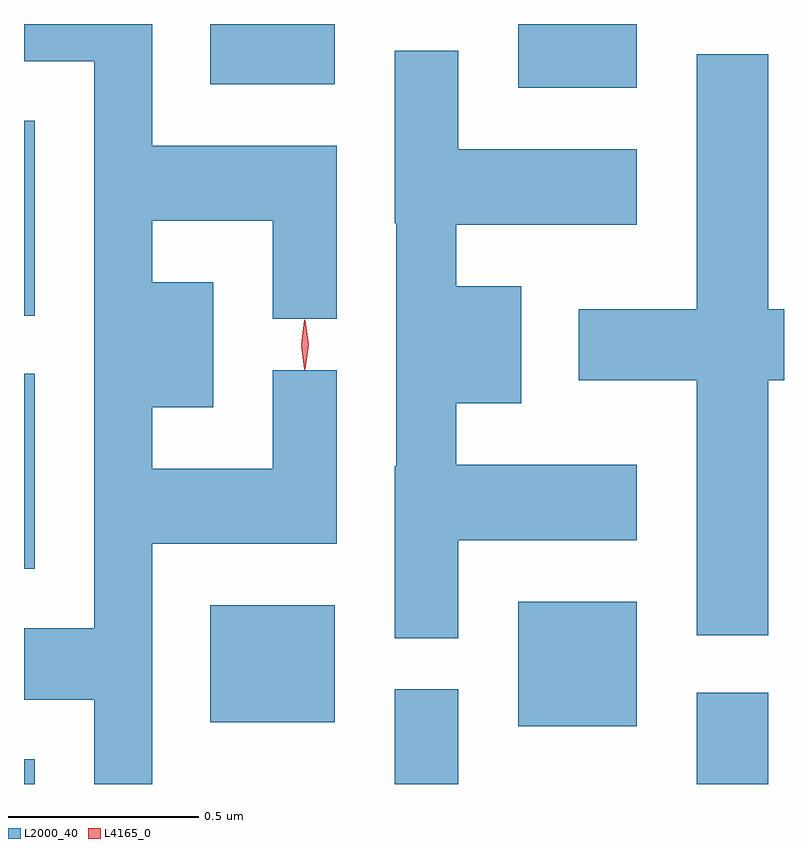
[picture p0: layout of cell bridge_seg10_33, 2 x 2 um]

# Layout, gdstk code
import gdstk
lib = gdstk.Library(unit=1e-6, precision=1e-09)
def R(c, l, rs):  # rectangles x0, y0, x1, y1
    for r in rs: c.add(gdstk.rectangle(r[:2], r[2:], *l))
def P(c, l, *ps):  # polygons
    for p in ps: c.add(gdstk.Polygon(p, *l))
L2000_40 = (2000, 40)
L4165_0 = (4165, 0)

bridge_seg10_33 = lib.new_cell('bridge_seg10_33')
R(bridge_seg10_33, L2000_40, [(1749.396,2156.254,1749.424,2156.319), (1750.371,2156.254,1750.539,2156.503), (1751.166,2156.254,1751.354,2156.494), (1750.696,2156.406,1751.009,2156.734), (1749.886,2156.416,1750.214,2156.724), (1749.396,2156.821,1749.424,2157.334), (1749.396,2157.486,1749.424,2157.999), (1750.696,2158.086,1751.009,2158.254), (1749.886,2158.096,1750.214,2158.254)])
P(bridge_seg10_33, L2000_40, [(1749.734,2156.886),(1750.219,2156.886),(1750.219,2157.343),(1750.051,2157.343),(1750.051,2157.084),(1749.734,2157.084),(1749.734,2157.246),(1749.894,2157.246),(1749.894,2157.574),(1749.734,2157.574),(1749.734,2157.736),(1750.051,2157.736),(1750.051,2157.478),(1750.219,2157.478),(1750.219,2157.934),(1749.734,2157.934),(1749.734,2158.254),(1749.396,2158.254),(1749.396,2158.156),(1749.581,2158.156),(1749.581,2156.664),(1749.396,2156.664),(1749.396,2156.476),(1749.581,2156.476),(1749.581,2156.254),(1749.734,2156.254)],
  [(1750.539,2156.896),(1751.009,2156.896),(1751.009,2157.094),(1750.534,2157.094),(1750.534,2157.256),(1750.704,2157.256),(1750.704,2157.564),(1750.534,2157.564),(1750.534,2157.726),(1751.009,2157.726),(1751.009,2157.924),(1750.539,2157.924),(1750.539,2158.183),(1750.371,2158.183),(1750.371,2157.73),(1750.376,2157.73),(1750.376,2157.09),(1750.371,2157.09),(1750.371,2156.638),(1750.539,2156.638)],
  [(1751.354,2157.316),(1751.396,2157.316),(1751.396,2157.504),(1751.354,2157.504),(1751.354,2158.174),(1751.166,2158.174),(1751.166,2157.504),(1750.856,2157.504),(1750.856,2157.316),(1751.166,2157.316),(1751.166,2156.646),(1751.354,2156.646)])
P(bridge_seg10_33, L4165_0, [(1750.135,2157.344),(1750.134,2157.345),(1750.125,2157.41),(1750.134,2157.475),(1750.135,2157.476),(1750.136,2157.475),(1750.145,2157.41),(1750.136,2157.345)])

lib.write_gds('bridge_seg10_33.gds')
